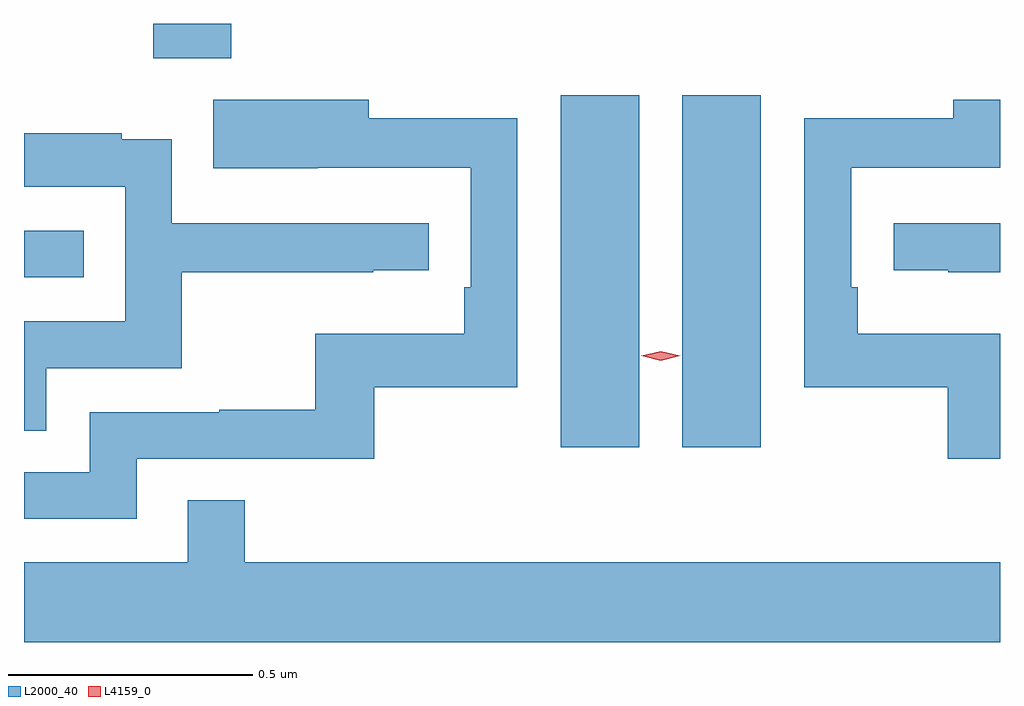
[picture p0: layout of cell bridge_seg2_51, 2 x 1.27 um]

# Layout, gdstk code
import gdstk
lib = gdstk.Library(unit=1e-6, precision=1e-09)
def R(c, l, rs):  # rectangles x0, y0, x1, y1
    for r in rs: c.add(gdstk.rectangle(r[:2], r[2:], *l))
def P(c, l, *ps):  # polygons
    for p in ps: c.add(gdstk.Polygon(p, *l))
L2000_40 = (2000, 40)
L4159_0 = (4159, 0)

bridge_seg2_51 = lib.new_cell('bridge_seg2_51')
R(bridge_seg2_51, L2000_40, [(946.991,600.084,947.152,600.805), (947.24,600.084,947.401,600.805), (945.891,600.432,946.013,600.528), (946.156,600.881,946.316,600.952)])
P(bridge_seg2_51, L2000_40, [(947.891,600.316),(947.6,600.316),(947.6,600.412),(947.586,600.412),(947.586,600.657),(947.891,600.657),(947.891,600.796),(947.795,600.796),(947.795,600.758),(947.49,600.758),(947.49,600.207),(947.784,600.207),(947.784,600.06),(947.891,600.06)],
  [(946.122,600.06),(946.609,600.06),(946.609,600.207),(946.902,600.207),(946.902,600.758),(946.597,600.758),(946.597,600.796),(946.279,600.796),(946.279,600.656),(946.493,600.656),(946.493,600.657),(946.806,600.657),(946.806,600.412),(946.793,600.412),(946.793,600.316),(946.488,600.316),(946.488,600.161),(946.291,600.161),(946.291,600.156),(946.026,600.156),(946.026,600.033),(945.891,600.033),(945.891,599.937),(946.122,599.937)],
  [(945.937,600.246),(946.214,600.246),(946.214,600.442),(946.607,600.442),(946.607,600.447),(946.72,600.447),(946.72,600.543),(946.194,600.543),(946.194,600.715),(946.091,600.715),(946.091,600.727),(945.891,600.727),(945.891,600.618),(946.098,600.618),(946.098,600.342),(945.891,600.342),(945.891,600.118),(945.937,600.118)],
  [(947.891,600.543),(947.673,600.543),(947.673,600.447),(947.785,600.447),(947.785,600.442),(947.891,600.442)],
  [(947.891,599.848),(946.343,599.848),(946.343,599.975),(946.227,599.975),(946.227,599.848),(945.891,599.848),(945.891,599.684),(947.891,599.684)])
P(bridge_seg2_51, L4159_0, [(947.196,600.261),(947.156,600.271),(947.156,600.271),(947.156,600.271),(947.196,600.281),(947.236,600.271),(947.236,600.271),(947.236,600.271)])

lib.write_gds('bridge_seg2_51.gds')
